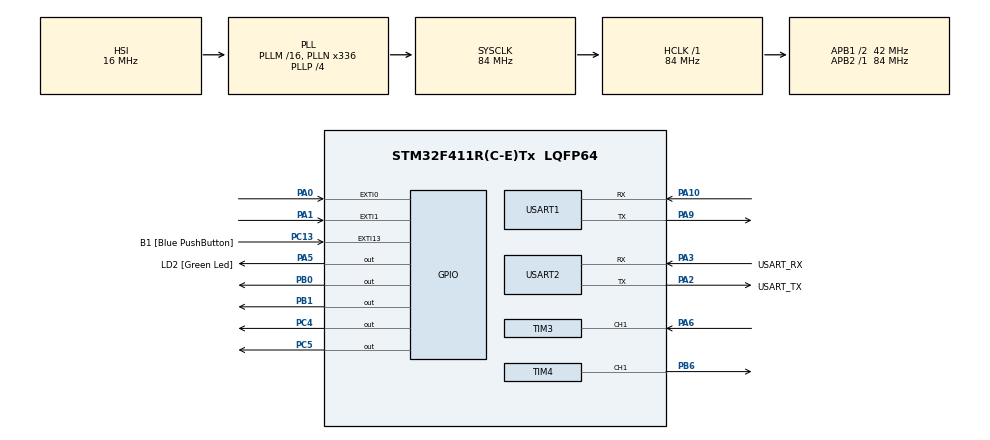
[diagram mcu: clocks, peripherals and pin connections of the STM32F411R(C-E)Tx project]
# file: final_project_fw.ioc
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Mcu.Family=STM32F4
Mcu.Name=STM32F411R(C-E)Tx
Mcu.Package=LQFP64
NVIC.EXTI0_IRQn=true\:0\:0\:false\:false\:true\:true\:true\:true
NVIC.PriorityGroup=NVIC_PRIORITYGROUP_0
NVIC.USART1_IRQn=true\:0\:0\:false\:false\:true\:true\:true\:true
PA0-WKUP.GPIO_ModeDefaultEXTI=GPIO_MODE_IT_FALLING
PA0-WKUP.GPIO_PuPd=GPIO_PULLUP
PA0-WKUP.Signal=GPXTI0
PA1.GPIO_ModeDefaultEXTI=GPIO_MODE_IT_FALLING
PA1.GPIO_PuPd=GPIO_PULLUP
PA1.Signal=GPXTI1
PA10.Mode=Asynchronous
PA10.Signal=USART1_RX
PA13.GPIO_Label=TMS
PA13.Mode=Serial_Wire
PA13.Signal=SYS_JTMS-SWDIO
PA14.GPIO_Label=TCK
PA14.Mode=Serial_Wire
PA14.Signal=SYS_JTCK-SWCLK
PA2.GPIO_Label=USART_TX
PA2.Mode=Asynchronous
PA2.Signal=USART2_TX
PA3.GPIO_Label=USART_RX
PA3.Mode=Asynchronous
PA3.Signal=USART2_RX
PA5.GPIO_Label=LD2 [Green Led]
PA5.Signal=GPIO_Output
PA6.Signal=S_TIM3_CH1
PA9.Mode=Asynchronous
PA9.Signal=USART1_TX
PB0.Signal=GPIO_Output
PB1.Signal=GPIO_Output
PB3.GPIO_Label=SWO
PB3.Signal=SYS_JTDO-SWO
PB6.Signal=S_TIM4_CH1
PC13-ANTI_TAMP.GPIO_Label=B1 [Blue PushButton]
PC13-ANTI_TAMP.GPIO_ModeDefaultEXTI=GPIO_MODE_IT_FALLING
PC13-ANTI_TAMP.Signal=GPXTI13
PC14-OSC32_IN.Mode=LSE-External-Oscillator
PC14-OSC32_IN.Signal=RCC_OSC32_IN
PC15-OSC32_OUT.Mode=LSE-External-Oscillator
PC15-OSC32_OUT.Signal=RCC_OSC32_OUT
PC4.Signal=GPIO_Output
PC5.Signal=GPIO_Output
PH0\ -\ OSC_IN.Mode=HSE-External-Clock-Source
PH0\ -\ OSC_IN.Signal=RCC_OSC_IN
PH1\ -\ OSC_OUT.Mode=HSE-External-Clock-Source
PH1\ -\ OSC_OUT.Signal=RCC_OSC_OUT
ProjectManager.HeapSize=0x200
ProjectManager.StackSize=0x400
ProjectManager.TargetToolchain=STM32CubeIDE
RCC.48MHZClocksFreq_Value=84000000
RCC.AHBFreq_Value=84000000
RCC.APB1CLKDivider=RCC_HCLK_DIV2
RCC.APB1Freq_Value=42000000
RCC.APB1TimFreq_Value=84000000
RCC.APB2Freq_Value=84000000
RCC.APB2TimFreq_Value=84000000
RCC.CortexFreq_Value=84000000
RCC.FLatency-AdvancedSettings=FLASH_LATENCY_2
RCC.HCLKFreq_Value=84000000
RCC.HSE_VALUE=8000000
RCC.HSI_VALUE=16000000
RCC.PLLN=336
RCC.PLLP=RCC_PLLP_DIV4
RCC.SYSCLKFreq_VALUE=84000000
RCC.SYSCLKSource=RCC_SYSCLKSOURCE_PLLCLK
RCC.VCOOutputFreq_Value=336000000
SH.S_TIM3_CH1.0=TIM3_CH1,Input_Capture1_from_TI1
SH.S_TIM4_CH1.0=TIM4_CH1,PWM Generation1 CH1
TIM3.Channel-Input_Capture1_from_TI1=TIM_CHANNEL_1
TIM3.Period=1000-1
TIM3.Prescaler=84-1
TIM4.Channel-PWM\ Generation1\ CH1=TIM_CHANNEL_1
TIM4.Period=19999
TIM4.Prescaler=84
TIM4.Pulse-PWM\ Generation1\ CH1=1500
USART1.VirtualMode=VM_ASYNC
USART2.VirtualMode=VM_ASYNC
board=NUCLEO-F411RE

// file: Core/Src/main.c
/* USER CODE BEGIN Header */
/**
  ******************************************************************************
  * @file           : main.c
  * @brief          : Main program body
  ******************************************************************************
  * @attention
  *
  * Copyright (c) 2025 STMicroelectronics.
  * All rights reserved.
  *
  * This software is licensed under terms that can be found in the LICENSE file
  * in the root directory of this software component.
  * If no LICENSE file comes with this software, it is provided AS-IS.
  *
  ******************************************************************************
  */
/* USER CODE END Header */
#include "main.h"

/* USER CODE BEGIN Includes */
#include "beam.h"
#include "esp.h"
#include <stdio.h>
#include <string.h>
/* USER CODE END Includes */

/* USER CODE BEGIN PD */
#define MOTOR_IN1_Port        GPIOB
#define MOTOR_IN1_Pin         GPIO_PIN_0
#define MOTOR_IN2_Port        GPIOB
#define MOTOR_IN2_Pin         GPIO_PIN_1
#define MOTOR2_IN1_Port       GPIOC
#define MOTOR2_IN1_Pin        GPIO_PIN_5
#define MOTOR2_IN2_Port       GPIOC
#define MOTOR2_IN2_Pin        GPIO_PIN_6
#define MOTOR_RUN_DURATION_MS 2000U
#define MOTOR_EXTEND_AFTER_BEAM_MS 5000U
#define ZONE_QUEUE_CAPACITY   8U
#define SERVO_PULSE_ZONE1     1350U
#define SERVO_PULSE_ZONE2      700U
#define SERVO_PULSE_ZONE3     2000U
/* USER CODE END PD */

TIM_HandleTypeDef htim3;
TIM_HandleTypeDef htim4;

UART_HandleTypeDef huart1;
UART_HandleTypeDef huart2;

/* USER CODE BEGIN PV */
static bool prev_blocked = false;
static bool beam2_prev_blocked = false;
static uint8_t zone_queue[ZONE_QUEUE_CAPACITY] = {0};
static uint8_t zone_queue_head = 0U;
static uint8_t zone_queue_tail = 0U;
static uint8_t zone_queue_count = 0U;
static bool  esp_ready    = false;
static bool  esp_initialized = false;
static uint32_t t_last_esp_check = 0U;
static bool  system_enabled = true;
static uint16_t servo_pulse = SERVO_PULSE_ZONE1;

typedef enum {
  MOTOR_STOPPED = 0,
  MOTOR_FORWARD,
  MOTOR_REVERSE
} motor_state_t;
static motor_state_t motor_state = MOTOR_STOPPED;
static uint32_t motor_deadline = 0U;
/* USER CODE END PV */

void SystemClock_Config(void);
static void MX_GPIO_Init(void);
static void MX_USART2_UART_Init(void);
static void MX_USART1_UART_Init(void);
static void MX_TIM3_Init(void);
static void MX_TIM4_Init(void);
/* USER CODE BEGIN PFP */
static void log_uart(const char *s);
static void maintain_esp_link(uint32_t now_ms);
static void process_socket_commands(void);
static void motor_start(bool forward);
static void motor_brake(void);
static void motor_service(void);
static void motor_stop(void);
static void motor2_start_forward(void);
static void motor2_stop(void);
static void update_servo(uint16_t pulse);
static void motor_extend_deadline(uint32_t now_ms, uint32_t keep_ms);
static bool zone_queue_push(uint8_t zone);
static bool zone_queue_pop(uint8_t *zone);
static void handle_zone_selection(uint8_t zone);
/* USER CODE END PFP */

/* USER CODE BEGIN 0 */
void HAL_GPIO_EXTI_Callback(uint16_t GPIO_Pin)
{
  /* Forward the EXTI interrupt to the beam helper */
  beam_exti_isr(GPIO_Pin);
}
/* USER CODE END 0 */

int main(void)
{

  /* MCU Configuration--------------------------------------------------------*/

  /* Reset of all peripherals, Initializes the Flash interface and the Systick. */
  HAL_Init();

  /* Configure the system clock */
  SystemClock_Config();

  /* Initialize all configured peripherals */
  MX_GPIO_Init();
  MX_USART2_UART_Init();
  MX_USART1_UART_Init();
  MX_TIM3_Init();
  MX_TIM4_Init();
  /* USER CODE BEGIN 2 */

  /* Break-beam input: PA0 with internal pull-up, falling edge */
  beam_init(GPIOA, GPIO_PIN_0, BEAM_ACTIVE_LOW, 8U, NULL);
  /* Second break-beam input: PA1 */
  beam_init_id(1U, GPIOA, GPIO_PIN_1, BEAM_ACTIVE_LOW, 8U, NULL);
  beam2_prev_blocked = beam_is_blocked_id(1U);

  log_uart("main START\r\n");
  if (HAL_TIM_Base_Start_IT(&htim3) != HAL_OK) {
    Error_Handler();
  }
  if (HAL_TIM_PWM_Start(&htim4, TIM_CHANNEL_1) != HAL_OK) {
    Error_Handler();
  }
  update_servo(servo_pulse);

  if (drv_uart_init() != 0) {
    log_uart("ERR: drv_uart_init\r\n");
  }

  if (drv_esp_init() == 0) {
    esp_initialized = true;
    AiotClient_Init();
    t_last_esp_check = HAL_GetTick();
    if (esp_get_status() == 0) {
      esp_ready = true;
      log_uart("ESP ready\r\n");
      esp_send_data("stm\r\n");
    } else {
      esp_ready = false;
      log_uart("ESP waiting for connection\r\n");
    }
  } else {
    log_uart("ERR: ESP init\r\n");
  }

  motor_stop();
  motor2_stop();
  /* USER CODE END 2 */

  /* Infinite loop */
  while (1)
  {

    /* USER CODE BEGIN 3 */
    uint32_t now = HAL_GetTick();
    bool blocked = beam_is_blocked();  /* true when the beam is interrupted */
    bool beam2_blocked = beam_is_blocked_id(1U);

    process_socket_commands();
    maintain_esp_link(now);
    if (!system_enabled) {
      motor_stop();
      motor2_stop();
    } else {
      motor2_start_forward();

      /* Optional logging: beam state transitions */
      if (!prev_blocked && blocked) {
        log_uart("BEAM BROKEN\r\n");
        if (esp_ready) {
          esp_send_data("jetson|capture|t\r\n");
        }
      }
      if (blocked) {
        motor_extend_deadline(now, MOTOR_RUN_DURATION_MS);
      }
      if (prev_blocked && !blocked) {
        log_uart("BEAM RESTORED\r\n");
        motor_extend_deadline(now, MOTOR_EXTEND_AFTER_BEAM_MS);
      }
    }
    prev_blocked = blocked;

    if (!beam2_prev_blocked && beam2_blocked) {
      log_uart("BEAM2 BROKEN\r\n");
      uint8_t zone = 0U;
      if (zone_queue_pop(&zone)) {
        handle_zone_selection(zone);
        motor_extend_deadline(now, MOTOR_RUN_DURATION_MS);
        motor2_start_forward();
        if (esp_ready) {
          esp_send_data("qt|ir2|t\r\n");
        } else {
          log_uart("WARN qt|ir2|t skipped (ESP not ready)\r\n");
        }
      } else {
        log_uart("WARN zone queue empty\r\n");
      }
    } else if (beam2_prev_blocked && !beam2_blocked) {
      log_uart("BEAM2 RESTORED\r\n");
    }
    beam2_prev_blocked = beam2_blocked;

    motor_service();
  }
  /* USER CODE END 3 */
}

void SystemClock_Config(void)
{
  RCC_OscInitTypeDef RCC_OscInitStruct = {0};
  RCC_ClkInitTypeDef RCC_ClkInitStruct = {0};

  /** Configure the main internal regulator output voltage
  */
  __HAL_RCC_PWR_CLK_ENABLE();
  __HAL_PWR_VOLTAGESCALING_CONFIG(PWR_REGULATOR_VOLTAGE_SCALE1);

  /** Initializes the RCC Oscillators according to the specified parameters
  * in the RCC_OscInitTypeDef structure.
  */
  RCC_OscInitStruct.OscillatorType = RCC_OSCILLATORTYPE_HSI;
  RCC_OscInitStruct.HSIState = RCC_HSI_ON;
  RCC_OscInitStruct.HSICalibrationValue = RCC_HSICALIBRATION_DEFAULT;
  RCC_OscInitStruct.PLL.PLLState = RCC_PLL_ON;
  RCC_OscInitStruct.PLL.PLLSource = RCC_PLLSOURCE_HSI;
  RCC_OscInitStruct.PLL.PLLM = 16;
  RCC_OscInitStruct.PLL.PLLN = 336;
  RCC_OscInitStruct.PLL.PLLP = RCC_PLLP_DIV4;
  RCC_OscInitStruct.PLL.PLLQ = 4;
  if (HAL_RCC_OscConfig(&RCC_OscInitStruct) != HAL_OK)
  {
    Error_Handler();
  }

  /** Initializes the CPU, AHB and APB buses clocks
  */
  RCC_ClkInitStruct.ClockType = RCC_CLOCKTYPE_HCLK|RCC_CLOCKTYPE_SYSCLK
                              |RCC_CLOCKTYPE_PCLK1|RCC_CLOCKTYPE_PCLK2;
  RCC_ClkInitStruct.SYSCLKSource = RCC_SYSCLKSOURCE_PLLCLK;
  RCC_ClkInitStruct.AHBCLKDivider = RCC_SYSCLK_DIV1;
  RCC_ClkInitStruct.APB1CLKDivider = RCC_HCLK_DIV2;
  RCC_ClkInitStruct.APB2CLKDivider = RCC_HCLK_DIV1;

  if (HAL_RCC_ClockConfig(&RCC_ClkInitStruct, FLASH_LATENCY_2) != HAL_OK)
  {
    Error_Handler();
  }
}

static void MX_TIM3_Init(void)
{

  TIM_MasterConfigTypeDef sMasterConfig = {0};
  TIM_IC_InitTypeDef sConfigIC = {0};

  htim3.Instance = TIM3;
  htim3.Init.Prescaler = 84-1;
  htim3.Init.CounterMode = TIM_COUNTERMODE_UP;
  htim3.Init.Period = 1000-1;
  htim3.Init.ClockDivision = TIM_CLOCKDIVISION_DIV1;
  htim3.Init.AutoReloadPreload = TIM_AUTORELOAD_PRELOAD_DISABLE;
  if (HAL_TIM_IC_Init(&htim3) != HAL_OK)
  {
    Error_Handler();
  }
  sMasterConfig.MasterOutputTrigger = TIM_TRGO_RESET;
  sMasterConfig.MasterSlaveMode = TIM_MASTERSLAVEMODE_DISABLE;
  if (HAL_TIMEx_MasterConfigSynchronization(&htim3, &sMasterConfig) != HAL_OK)
  {
    Error_Handler();
  }
  sConfigIC.ICPolarity = TIM_INPUTCHANNELPOLARITY_RISING;
  sConfigIC.ICSelection = TIM_ICSELECTION_DIRECTTI;
  sConfigIC.ICPrescaler = TIM_ICPSC_DIV1;
  sConfigIC.ICFilter = 0;
  if (HAL_TIM_IC_ConfigChannel(&htim3, &sConfigIC, TIM_CHANNEL_1) != HAL_OK)
  {
    Error_Handler();
  }

}

static void MX_TIM4_Init(void)
{

  TIM_MasterConfigTypeDef sMasterConfig = {0};
  TIM_OC_InitTypeDef sConfigOC = {0};

  htim4.Instance = TIM4;
  htim4.Init.Prescaler = 84;
  htim4.Init.CounterMode = TIM_COUNTERMODE_UP;
  htim4.Init.Period = 19999;
  htim4.Init.ClockDivision = TIM_CLOCKDIVISION_DIV1;
  htim4.Init.AutoReloadPreload = TIM_AUTORELOAD_PRELOAD_DISABLE;
  if (HAL_TIM_PWM_Init(&htim4) != HAL_OK)
  {
    Error_Handler();
  }
  sMasterConfig.MasterOutputTrigger = TIM_TRGO_RESET;
  sMasterConfig.MasterSlaveMode = TIM_MASTERSLAVEMODE_DISABLE;
  if (HAL_TIMEx_MasterConfigSynchronization(&htim4, &sMasterConfig) != HAL_OK)
  {
    Error_Handler();
  }
  sConfigOC.OCMode = TIM_OCMODE_PWM1;
  sConfigOC.Pulse = 1500;
  sConfigOC.OCPolarity = TIM_OCPOLARITY_HIGH;
  sConfigOC.OCFastMode = TIM_OCFAST_DISABLE;
  if (HAL_TIM_PWM_ConfigChannel(&htim4, &sConfigOC, TIM_CHANNEL_1) != HAL_OK)
  {
    Error_Handler();
  }
  HAL_TIM_MspPostInit(&htim4);

}

static void MX_USART1_UART_Init(void)
{

  huart1.Instance = USART1;
  huart1.Init.BaudRate = 115200;
  huart1.Init.WordLength = UART_WORDLENGTH_8B;
  huart1.Init.StopBits = UART_STOPBITS_1;
  huart1.Init.Parity = UART_PARITY_NONE;
  huart1.Init.Mode = UART_MODE_TX_RX;
  huart1.Init.HwFlowCtl = UART_HWCONTROL_NONE;
  huart1.Init.OverSampling = UART_OVERSAMPLING_16;
  if (HAL_UART_Init(&huart1) != HAL_OK)
  {
    Error_Handler();
  }

}

static void MX_USART2_UART_Init(void)
{

  huart2.Instance = USART2;
  huart2.Init.BaudRate = 115200;
  huart2.Init.WordLength = UART_WORDLENGTH_8B;
  huart2.Init.StopBits = UART_STOPBITS_1;
  huart2.Init.Parity = UART_PARITY_NONE;
  huart2.Init.Mode = UART_MODE_TX_RX;
  huart2.Init.HwFlowCtl = UART_HWCONTROL_NONE;
  huart2.Init.OverSampling = UART_OVERSAMPLING_16;
  if (HAL_UART_Init(&huart2) != HAL_OK)
  {
    Error_Handler();
  }

}

static void MX_GPIO_Init(void)
{
  GPIO_InitTypeDef GPIO_InitStruct = {0};

  /* GPIO Ports Clock Enable */
  __HAL_RCC_GPIOC_CLK_ENABLE();
  __HAL_RCC_GPIOH_CLK_ENABLE();
  __HAL_RCC_GPIOA_CLK_ENABLE();
  __HAL_RCC_GPIOB_CLK_ENABLE();

  /*Configure GPIO pin Output Level */
  HAL_GPIO_WritePin(LD2_GPIO_Port, LD2_Pin, GPIO_PIN_RESET);

  /*Configure GPIO pin Output Level */
  HAL_GPIO_WritePin(GPIOC, GPIO_PIN_4|GPIO_PIN_5, GPIO_PIN_RESET);

  /*Configure GPIO pin Output Level */
  HAL_GPIO_WritePin(GPIOB, GPIO_PIN_0|GPIO_PIN_1, GPIO_PIN_RESET);

  /*Configure GPIO pin : B1_Pin */
  GPIO_InitStruct.Pin = B1_Pin;
  GPIO_InitStruct.Mode = GPIO_MODE_IT_FALLING;
  GPIO_InitStruct.Pull = GPIO_NOPULL;
  HAL_GPIO_Init(B1_GPIO_Port, &GPIO_InitStruct);

  /*Configure GPIO pins : PA0 PA1 */
  GPIO_InitStruct.Pin = GPIO_PIN_0|GPIO_PIN_1;
  GPIO_InitStruct.Mode = GPIO_MODE_IT_FALLING;
  GPIO_InitStruct.Pull = GPIO_PULLUP;
  HAL_GPIO_Init(GPIOA, &GPIO_InitStruct);

  /*Configure GPIO pin : LD2_Pin */
  GPIO_InitStruct.Pin = LD2_Pin;
  GPIO_InitStruct.Mode = GPIO_MODE_OUTPUT_PP;
  GPIO_InitStruct.Pull = GPIO_NOPULL;
  GPIO_InitStruct.Speed = GPIO_SPEED_FREQ_LOW;
  HAL_GPIO_Init(LD2_GPIO_Port, &GPIO_InitStruct);

  /*Configure GPIO pins : PC4 PC5 */
  GPIO_InitStruct.Pin = GPIO_PIN_4|GPIO_PIN_5;
  GPIO_InitStruct.Mode = GPIO_MODE_OUTPUT_PP;
  GPIO_InitStruct.Pull = GPIO_NOPULL;
  GPIO_InitStruct.Speed = GPIO_SPEED_FREQ_LOW;
  HAL_GPIO_Init(GPIOC, &GPIO_InitStruct);

  /*Configure GPIO pins : PB0 PB1 */
  GPIO_InitStruct.Pin = GPIO_PIN_0|GPIO_PIN_1;
  GPIO_InitStruct.Mode = GPIO_MODE_OUTPUT_PP;
  GPIO_InitStruct.Pull = GPIO_NOPULL;
  GPIO_InitStruct.Speed = GPIO_SPEED_FREQ_LOW;
  HAL_GPIO_Init(GPIOB, &GPIO_InitStruct);

  /* EXTI interrupt init*/
  HAL_NVIC_SetPriority(EXTI0_IRQn, 0, 0);
  HAL_NVIC_EnableIRQ(EXTI0_IRQn);

}

/* USER CODE BEGIN 4 */
static void log_uart(const char *s)
{
  HAL_UART_Transmit(&huart2, (uint8_t*)s, (uint16_t)strlen(s), 20);
}

static void motor_brake(void)
{
  HAL_GPIO_WritePin(MOTOR_IN1_Port, MOTOR_IN1_Pin, GPIO_PIN_RESET);
  HAL_GPIO_WritePin(MOTOR_IN2_Port, MOTOR_IN2_Pin, GPIO_PIN_RESET);
}

static void motor_stop(void)
{
  motor_brake();
  motor_state = MOTOR_STOPPED;
  motor_deadline = 0U;
}

static void motor2_start_forward(void)
{
  HAL_GPIO_WritePin(MOTOR2_IN1_Port, MOTOR2_IN1_Pin, GPIO_PIN_SET);
  HAL_GPIO_WritePin(MOTOR2_IN2_Port, MOTOR2_IN2_Pin, GPIO_PIN_RESET);
}

static void motor2_stop(void)
{
  HAL_GPIO_WritePin(MOTOR2_IN1_Port, MOTOR2_IN1_Pin, GPIO_PIN_RESET);
  HAL_GPIO_WritePin(MOTOR2_IN2_Port, MOTOR2_IN2_Pin, GPIO_PIN_RESET);
}

static void update_servo(uint16_t pulse)
{
  servo_pulse = pulse;
  __HAL_TIM_SET_COMPARE(&htim4, TIM_CHANNEL_1, pulse);
}

static void motor_extend_deadline(uint32_t now_ms, uint32_t keep_ms)
{
  if (motor_state == MOTOR_STOPPED) {
    return;
  }

  uint32_t desired_deadline = now_ms + keep_ms;
  if ((int32_t)(motor_deadline - desired_deadline) < 0) {
    motor_deadline = desired_deadline;
  }
}

static void motor_start(bool forward)
{
  motor_brake();
  if (forward) {
    HAL_GPIO_WritePin(MOTOR_IN1_Port, MOTOR_IN1_Pin, GPIO_PIN_SET);
    HAL_GPIO_WritePin(MOTOR_IN2_Port, MOTOR_IN2_Pin, GPIO_PIN_RESET);
    motor_state = MOTOR_FORWARD;
  } else {
    HAL_GPIO_WritePin(MOTOR_IN1_Port, MOTOR_IN1_Pin, GPIO_PIN_RESET);
    HAL_GPIO_WritePin(MOTOR_IN2_Port, MOTOR_IN2_Pin, GPIO_PIN_SET);
    motor_state = MOTOR_REVERSE;
  }
  motor_deadline = HAL_GetTick() + MOTOR_RUN_DURATION_MS;
}

static void motor_service(void)
{
  if (motor_state == MOTOR_STOPPED) {
    return;
  }
  if ((int32_t)(HAL_GetTick() - motor_deadline) >= 0) {
    motor_stop();
  }
}

static void maintain_esp_link(uint32_t now_ms)
{
  if (!esp_initialized) {
    return;
  }

  if (esp_has_pending()) {
    return;
  }

  if ((now_ms - t_last_esp_check) < 5000U) {
    return;
  }
  t_last_esp_check = now_ms;

  if (esp_get_status() == 0) {
    if (!esp_ready) {
      esp_ready = true;
      log_uart("ESP connected\r\n");
      esp_send_data("stm\r\n");
    }
  } else {
    if (esp_ready) {
      esp_ready = false;
      log_uart("ESP reconnect...\r\n");
    }
    esp_client_conn();
  }
}

static void process_socket_commands(void)
{
  char msg[128];
  while (1) {
    int len = esp_fetch_message(msg, sizeof(msg));
    if (len <= 0) {
      break;
    }

    char *tok = strtok(msg, "\r\n");
    while (tok != NULL) {
      if (strstr(tok, "stm|zon|0") != NULL) {
        log_uart("CMD stm|zon|0\r\n");
        system_enabled = true;
        motor_start(false);
      } else if (strstr(tok, "stm|zon|1") != NULL) {
        log_uart("CMD stm|zon|1\r\n");
        system_enabled = true;
        motor_start(true);
        if (!zone_queue_push(1U)) {
          log_uart("WARN zone queue full\r\n");
        }
      } else if (strstr(tok, "stm|zon|2") != NULL) {
        log_uart("CMD stm|zon|2\r\n");
        system_enabled = true;
        motor_start(true);
        if (!zone_queue_push(2U)) {
          log_uart("WARN zone queue full\r\n");
        }
      } else if (strstr(tok, "stm|zon|3") != NULL) {
        log_uart("CMD stm|zon|3\r\n");
        system_enabled = true;
        motor_start(true);
        if (!zone_queue_push(3U)) {
          log_uart("WARN zone queue full\r\n");
        }
      } else if (strstr(tok, "stm|zon|4") != NULL) {
        log_uart("CMD stm|zon|4\r\n");
        system_enabled = true;
        motor_start(true);
        if (!zone_queue_push(4U)) {
          log_uart("WARN zone queue full\r\n");
        }
      } else if (strstr(tok, "stm|es|t") != NULL || strstr(tok, "stm|tur|t") != NULL) {
        const char *msg = (strstr(tok, "stm|tur|t") != NULL) ? "CMD stm|tur|t\r\n"
                                                             : "CMD stm|es|t\r\n";
        log_uart(msg);
        system_enabled = false;
        motor_stop();
        motor2_stop();
      } else if (strstr(tok, "stm|es|f") != NULL || strstr(tok, "stm|tur|f") != NULL) {
        const char *msg = (strstr(tok, "stm|tur|f") != NULL) ? "CMD stm|tur|f\r\n"
                                                             : "CMD stm|es|f\r\n";
        log_uart(msg);
        system_enabled = true;
        motor2_start_forward();
      }
      tok = strtok(NULL, "\r\n");
    }
  }
}

static bool zone_queue_push(uint8_t zone)
{
  if (zone_queue_count >= ZONE_QUEUE_CAPACITY) {
    return false;
  }
  zone_queue[zone_queue_tail] = zone;
  zone_queue_tail = (zone_queue_tail + 1U) % ZONE_QUEUE_CAPACITY;
  zone_queue_count++;
  return true;
}

static bool zone_queue_pop(uint8_t *zone)
{
  if (zone_queue_count == 0U || zone == NULL) {
    return false;
  }
  *zone = zone_queue[zone_queue_head];
  zone_queue_head = (zone_queue_head + 1U) % ZONE_QUEUE_CAPACITY;
  zone_queue_count--;
  return true;
}

static void handle_zone_selection(uint8_t zone)
{
  const char *zone_msg = NULL;
  switch (zone) {
    case 1U:
      update_servo(SERVO_PULSE_ZONE1);
      zone_msg = "Servo -> Zone1 (1350us)\r\n";
      break;
    case 2U:
      update_servo(SERVO_PULSE_ZONE2);
      zone_msg = "Servo -> Zone2 (700us)\r\n";
      break;
    case 3U:
      update_servo(SERVO_PULSE_ZONE3);
      zone_msg = "Servo -> Zone3 (2000us)\r\n";
      break;
    default:
      zone_msg = "WARN unknown zone\r\n";
      break;
  }
  if (zone_msg) {
    log_uart(zone_msg);
  }
}
/* USER CODE END 4 */

void Error_Handler(void)
{
  __disable_irq();
  while (1)
  {
  }
}
